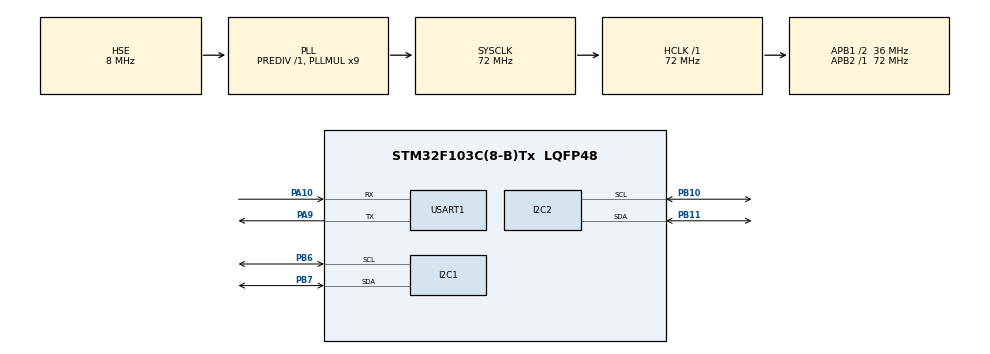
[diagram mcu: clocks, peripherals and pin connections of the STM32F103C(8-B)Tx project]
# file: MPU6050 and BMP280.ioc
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Mcu.Family=STM32F1
Mcu.Name=STM32F103C(8-B)Tx
Mcu.Package=LQFP48
NVIC.PriorityGroup=NVIC_PRIORITYGROUP_4
NVIC.TIM1_UP_IRQn=true\:0\:0\:false\:false\:true\:true\:true\:true
PA10.Mode=Asynchronous
PA10.Signal=USART1_RX
PA13.Mode=Serial_Wire
PA13.Signal=SYS_JTMS-SWDIO
PA14.Mode=Serial_Wire
PA14.Signal=SYS_JTCK-SWCLK
PA9.Mode=Asynchronous
PA9.Signal=USART1_TX
PB10.Mode=I2C
PB10.Signal=I2C2_SCL
PB11.Mode=I2C
PB11.Signal=I2C2_SDA
PB6.Mode=I2C
PB6.Signal=I2C1_SCL
PB7.Mode=I2C
PB7.Signal=I2C1_SDA
PD0-OSC_IN.Mode=HSE-External-Oscillator
PD0-OSC_IN.Signal=RCC_OSC_IN
PD1-OSC_OUT.Mode=HSE-External-Oscillator
PD1-OSC_OUT.Signal=RCC_OSC_OUT
ProjectManager.HeapSize=0x200
ProjectManager.StackSize=0x400
ProjectManager.TargetToolchain=MDK-ARM V5.32
RCC.AHBFreq_Value=72000000
RCC.APB1CLKDivider=RCC_HCLK_DIV2
RCC.APB1Freq_Value=36000000
RCC.APB1TimFreq_Value=72000000
RCC.APB2Freq_Value=72000000
RCC.APB2TimFreq_Value=72000000
RCC.HCLKFreq_Value=72000000
RCC.PLLMUL=RCC_PLL_MUL9
RCC.PLLSourceVirtual=RCC_PLLSOURCE_HSE
RCC.SYSCLKFreq_VALUE=72000000
RCC.SYSCLKSource=RCC_SYSCLKSOURCE_PLLCLK
RCC.USBFreq_Value=72000000
TIM1.AutoReloadPreload=TIM_AUTORELOAD_PRELOAD_ENABLE
TIM1.Period=1999
TIM1.Prescaler=35999
USART1.VirtualMode=VM_ASYNC
VP_TIM1_VS_ClockSourceINT.Mode=Internal
board=custom

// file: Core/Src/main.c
/* USER CODE BEGIN Header */
/**
  ******************************************************************************
  * @file           : main.c
  * @brief          : Main program body
  ******************************************************************************
  * @attention
  *
  * Copyright (c) 2023 STMicroelectronics.
  * All rights reserved.
  *
  * This software is licensed under terms that can be found in the LICENSE file
  * in the root directory of this software component.
  * If no LICENSE file comes with this software, it is provided AS-IS.
  *
  ******************************************************************************
  */
/* USER CODE END Header */
#include "main.h"

/* USER CODE BEGIN Includes */
#include "sd_hal_mpu6050.h"
#include "stdio.h"
#include "stdlib.h"
#include "bmp280.h"
#include "math.h"
/* USER CODE END Includes */

/* USER CODE BEGIN PTD */
void MPU6050(I2C_HandleTypeDef *hi2c, SD_MPU6050 *mpu);
void BMP280(bool bme280p);
/* USER CODE END PTD */

I2C_HandleTypeDef hi2c1;
I2C_HandleTypeDef hi2c2;

TIM_HandleTypeDef htim1;

UART_HandleTypeDef huart1;

/* USER CODE BEGIN PV */
SD_MPU6050 mpu1;
BMP280_HandleTypedef bmp280;
/* USER CODE END PV */

void SystemClock_Config(void);
static void MX_GPIO_Init(void);
static void MX_I2C1_Init(void);
static void MX_I2C2_Init(void);
static void MX_TIM1_Init(void);
static void MX_USART1_UART_Init(void);

/* USER CODE BEGIN 0 */
int  counter=0;
float temp;
		int16_t a_x =0;
		int16_t a_y =0;
		int16_t a_z =0;
		int16_t Gyroscope_X = 0;
		int16_t Gyroscope_Y = 0;
		int16_t Gyroscope_Z = 0;

float altitude ,pressure, p, temperature, humidity;

uint16_t size;
uint8_t Data[256];
/* USER CODE END 0 */

int main(void)
{
  /* USER CODE BEGIN 1 */
  SD_MPU6050_Result result;
  /* USER CODE END 1 */

  /* MCU Configuration--------------------------------------------------------*/

  /* Reset of all peripherals, Initializes the Flash interface and the Systick. */
  HAL_Init();

  /* Configure the system clock */
  SystemClock_Config();

  /* Initialize all configured peripherals */
  MX_GPIO_Init();
  MX_I2C1_Init();
  MX_I2C2_Init();
  MX_TIM1_Init();
  MX_USART1_UART_Init();
  /* USER CODE BEGIN 2 */
	HAL_TIM_Base_Start_IT(&htim1);
  bmp280_init_default_params(&bmp280.params);
	bmp280.addr = BMP280_I2C_ADDRESS_0;
	bmp280.i2c = &hi2c2;

  while (!(bmp280_init(&bmp280, &bmp280.params)))
		{
			size = sprintf((char *)Data, "BMP280 initialization failed\n");
			HAL_UART_Transmit(&huart1, Data, size, 1000);
			HAL_Delay(2000);
		}
	bool bme280p = bmp280.id == BMP280_CHIP_ID;
	size = sprintf((char *)Data, "BMP280: found %s\n", bme280p ? "BME280" : "BMP280");
	HAL_UART_Transmit(&huart1, Data, size, 1000);
  /* USER CODE END 2 */

  /* Infinite loop */
  while (1)
  {

    /* USER CODE BEGIN 3 */
		if(counter%2 == 0)
			MPU6050(&hi2c1,&mpu1);
		else
			BMP280(true);

  }
  /* USER CODE END 3 */
}

void SystemClock_Config(void)
{
  RCC_OscInitTypeDef RCC_OscInitStruct = {0};
  RCC_ClkInitTypeDef RCC_ClkInitStruct = {0};

  /** Initializes the RCC Oscillators according to the specified parameters
  * in the RCC_OscInitTypeDef structure.
  */
  RCC_OscInitStruct.OscillatorType = RCC_OSCILLATORTYPE_HSE;
  RCC_OscInitStruct.HSEState = RCC_HSE_ON;
  RCC_OscInitStruct.HSEPredivValue = RCC_HSE_PREDIV_DIV1;
  RCC_OscInitStruct.HSIState = RCC_HSI_ON;
  RCC_OscInitStruct.PLL.PLLState = RCC_PLL_ON;
  RCC_OscInitStruct.PLL.PLLSource = RCC_PLLSOURCE_HSE;
  RCC_OscInitStruct.PLL.PLLMUL = RCC_PLL_MUL9;
  if (HAL_RCC_OscConfig(&RCC_OscInitStruct) != HAL_OK)
  {
    Error_Handler();
  }

  /** Initializes the CPU, AHB and APB buses clocks
  */
  RCC_ClkInitStruct.ClockType = RCC_CLOCKTYPE_HCLK|RCC_CLOCKTYPE_SYSCLK
                              |RCC_CLOCKTYPE_PCLK1|RCC_CLOCKTYPE_PCLK2;
  RCC_ClkInitStruct.SYSCLKSource = RCC_SYSCLKSOURCE_PLLCLK;
  RCC_ClkInitStruct.AHBCLKDivider = RCC_SYSCLK_DIV1;
  RCC_ClkInitStruct.APB1CLKDivider = RCC_HCLK_DIV2;
  RCC_ClkInitStruct.APB2CLKDivider = RCC_HCLK_DIV1;

  if (HAL_RCC_ClockConfig(&RCC_ClkInitStruct, FLASH_LATENCY_2) != HAL_OK)
  {
    Error_Handler();
  }
}

static void MX_I2C1_Init(void)
{

  hi2c1.Instance = I2C1;
  hi2c1.Init.ClockSpeed = 100000;
  hi2c1.Init.DutyCycle = I2C_DUTYCYCLE_2;
  hi2c1.Init.OwnAddress1 = 0;
  hi2c1.Init.AddressingMode = I2C_ADDRESSINGMODE_7BIT;
  hi2c1.Init.DualAddressMode = I2C_DUALADDRESS_DISABLE;
  hi2c1.Init.OwnAddress2 = 0;
  hi2c1.Init.GeneralCallMode = I2C_GENERALCALL_DISABLE;
  hi2c1.Init.NoStretchMode = I2C_NOSTRETCH_DISABLE;
  if (HAL_I2C_Init(&hi2c1) != HAL_OK)
  {
    Error_Handler();
  }

}

static void MX_I2C2_Init(void)
{

  hi2c2.Instance = I2C2;
  hi2c2.Init.ClockSpeed = 100000;
  hi2c2.Init.DutyCycle = I2C_DUTYCYCLE_2;
  hi2c2.Init.OwnAddress1 = 0;
  hi2c2.Init.AddressingMode = I2C_ADDRESSINGMODE_7BIT;
  hi2c2.Init.DualAddressMode = I2C_DUALADDRESS_DISABLE;
  hi2c2.Init.OwnAddress2 = 0;
  hi2c2.Init.GeneralCallMode = I2C_GENERALCALL_DISABLE;
  hi2c2.Init.NoStretchMode = I2C_NOSTRETCH_DISABLE;
  if (HAL_I2C_Init(&hi2c2) != HAL_OK)
  {
    Error_Handler();
  }

}

static void MX_TIM1_Init(void)
{

  TIM_ClockConfigTypeDef sClockSourceConfig = {0};
  TIM_MasterConfigTypeDef sMasterConfig = {0};

  htim1.Instance = TIM1;
  htim1.Init.Prescaler = 35999;
  htim1.Init.CounterMode = TIM_COUNTERMODE_UP;
  htim1.Init.Period = 1999;
  htim1.Init.ClockDivision = TIM_CLOCKDIVISION_DIV1;
  htim1.Init.RepetitionCounter = 0;
  htim1.Init.AutoReloadPreload = TIM_AUTORELOAD_PRELOAD_ENABLE;
  if (HAL_TIM_Base_Init(&htim1) != HAL_OK)
  {
    Error_Handler();
  }
  sClockSourceConfig.ClockSource = TIM_CLOCKSOURCE_INTERNAL;
  if (HAL_TIM_ConfigClockSource(&htim1, &sClockSourceConfig) != HAL_OK)
  {
    Error_Handler();
  }
  sMasterConfig.MasterOutputTrigger = TIM_TRGO_RESET;
  sMasterConfig.MasterSlaveMode = TIM_MASTERSLAVEMODE_DISABLE;
  if (HAL_TIMEx_MasterConfigSynchronization(&htim1, &sMasterConfig) != HAL_OK)
  {
    Error_Handler();
  }

}

static void MX_USART1_UART_Init(void)
{

  huart1.Instance = USART1;
  huart1.Init.BaudRate = 115200;
  huart1.Init.WordLength = UART_WORDLENGTH_8B;
  huart1.Init.StopBits = UART_STOPBITS_1;
  huart1.Init.Parity = UART_PARITY_NONE;
  huart1.Init.Mode = UART_MODE_TX_RX;
  huart1.Init.HwFlowCtl = UART_HWCONTROL_NONE;
  huart1.Init.OverSampling = UART_OVERSAMPLING_16;
  if (HAL_UART_Init(&huart1) != HAL_OK)
  {
    Error_Handler();
  }

}

static void MX_GPIO_Init(void)
{

  /* GPIO Ports Clock Enable */
  __HAL_RCC_GPIOD_CLK_ENABLE();
  __HAL_RCC_GPIOB_CLK_ENABLE();
  __HAL_RCC_GPIOA_CLK_ENABLE();

}

/* USER CODE BEGIN 4 */
void HAL_TIM_PeriodElapsedCallback(TIM_HandleTypeDef *htim)
{
	if(htim -> Instance == TIM1)
	{
		//MPU6050(&hi2c1,&mpu1);
		counter ++;

	}
	else
	{
		//BMP280(true);
	}
}
void MPU6050(I2C_HandleTypeDef *hi2c, SD_MPU6050 *mpu)
{
	  int result = SD_MPU6050_Init(&hi2c1,&mpu1,SD_MPU6050_Device_0,SD_MPU6050_Accelerometer_16G,SD_MPU6050_Gyroscope_2000s);
	  HAL_Delay(50);
    /* USER CODE END WHILE */

    /* USER CODE BEGIN 3 */
	  SD_MPU6050_ReadAccelerometer(&hi2c1,&mpu1);
	  a_x = mpu1.Accelerometer_X;
	  a_y = mpu1.Accelerometer_Y;
	  a_z = mpu1.Accelerometer_Z;

		SD_MPU6050_ReadTemperature(&hi2c1,&mpu1);
		temp = mpu1.Temperature;

		SD_MPU6050_ReadGyroscope(&hi2c1,&mpu1);
		Gyroscope_X = mpu1.Gyroscope_X;
		Gyroscope_Y = mpu1.Gyroscope_Y;
		Gyroscope_Z = mpu1.Gyroscope_Z;
}
void BMP280(bool bme280p)
{
	HAL_Delay(100);
		while (!bmp280_read_float(&bmp280, &temperature, &pressure, &humidity)) {
			size = sprintf((char *)Data,
					"Temperature/pressure reading failed\n");
			HAL_UART_Transmit(&huart1, Data, size, 1000);
			HAL_Delay(2000);
		}
			p = pressure/100;
		 altitude = 44330.0*(1-pow(p/1013.25, 1/5.255));

		  size = sprintf((char *)Data,"\nPressure: %.2f Pa, Temperature: %.2f C , Altitude: %.2f m\r\n",
				pressure, temperature , altitude);
		//size = sprintf((char *)Data,"\nPressure: %.2f Pa, Temperature: %.2f C \r\n",
		//		pressure, temperature);
		HAL_UART_Transmit(&huart1, Data, size, 1000);
		if (bme280p) {
			//size = sprintf((char *)Data,", Humidity: %.2f\n", humidity);
			//HAL_UART_Transmit(&huart1, Data, size, 1000);
		}

		else {
			size = sprintf((char *)Data, "\n");
			HAL_UART_Transmit(&huart1, Data, size, 1000);
		}
		HAL_Delay(500);
}
/* USER CODE END 4 */

void Error_Handler(void)
{
  __disable_irq();
  while (1)
  {
  }
}
